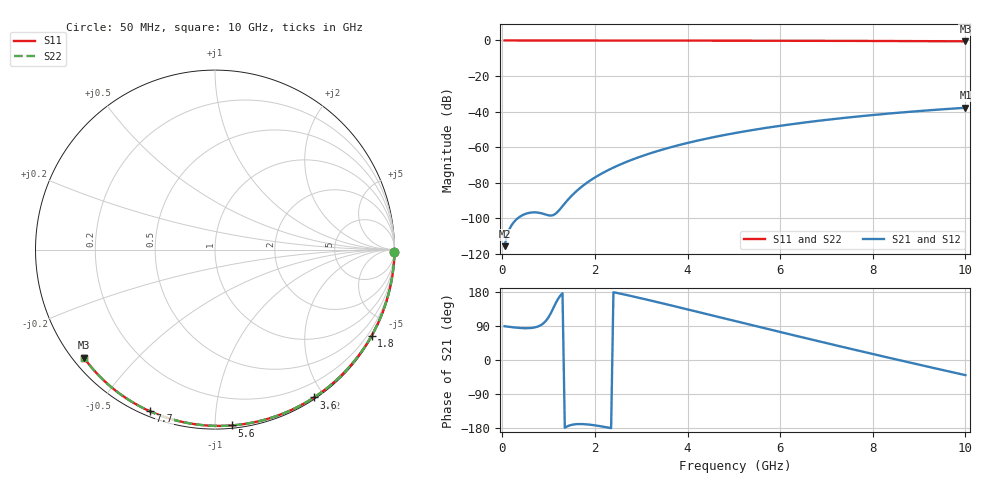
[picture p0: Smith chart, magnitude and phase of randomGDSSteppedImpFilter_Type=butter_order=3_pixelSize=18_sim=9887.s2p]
! freq	dB(S11)	phase(S11)	dB(S12)	phase(S12)
!  dB(S21)	phase(S21)	dB(S22)	phase(S22)
!S-par simulation data
#  GHz  S  DB  R 50
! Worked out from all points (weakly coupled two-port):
!   200 points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, 50 MHz to 10 GHz, reference 50 ohm
!   highest |S21| = -37.84 dB at 10 GHz (marker M1); lowest = -115.7 dB at 50 MHz (marker M2)
!   lowest |S11| = -0.5 dB at 10 GHz (marker M3), VSWR 36.56, Z = 1.54 - j17.9 ohm
!   |S11| at or under -10 dB: nowhere
!   |S22| runs from -0.5 to 0.0 dB; largest |S21 - S12| = 0
!   S11 on the Smith chart (normalised r, x): 50 MHz: open; 1.8 GHz: 0.03, -3.90; 3.6 GHz: 0.02, -1.87; 5.6 GHz: 0.02, -1.10; 7.7 GHz: 0.02, -0.68; 10 GHz: 0.03, -0.36
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0.05  -0.00 -0.8  -115.66 89.1  -115.66 89.1  -0.00 -0.8
0.45  -0.01 -7.3  -98.05 84.0  -98.05 84.0  -0.01 -7.3
0.9  -0.02 -14.5  -97.58 98.0  -97.58 98.0  -0.02 -14.5
1.75  -0.04 -28.0  -81.50 -169.3  -81.50 -169.3  -0.04 -28.0
1.8  -0.04 -28.8  -80.52 -169.6  -80.52 -169.6  -0.04 -28.8
1.85  -0.04 -29.6  -79.59 -170.2  -79.59 -170.2  -0.04 -29.5
2.05  -0.04 -32.7  -76.25 -173.3  -76.25 -173.3  -0.04 -32.7
2.25  -0.05 -35.8  -73.37 -177.6  -73.37 -177.6  -0.05 -35.8
2.55  -0.05 -40.4  -69.69 175.1  -69.69 175.1  -0.05 -40.4
2.95  -0.06 -46.5  -65.61 164.2  -65.61 164.2  -0.06 -46.5
3.4  -0.07 -53.2  -61.80 151.3  -61.80 151.3  -0.07 -53.2
3.6  -0.08 -56.2  -60.31 145.4  -60.31 145.4  -0.08 -56.2
3.9  -0.08 -60.6  -58.26 136.5  -58.26 136.5  -0.08 -60.6
4.3  -0.09 -66.4  -55.82 124.6  -55.82 124.6  -0.09 -66.3
5.05  -0.12 -76.9  -51.94 102.2  -51.94 102.2  -0.12 -76.9
5.6  -0.14 -84.5  -49.54 85.8  -49.54 85.8  -0.14 -84.5
6.15  -0.16 -91.9  -47.43 69.5  -47.43 69.5  -0.16 -91.9
6.7  -0.19 -99.1  -45.57 53.3  -45.57 53.3  -0.19 -99.1
7.7  -0.26 -111.9  -42.68 24.4  -42.68 24.4  -0.26 -111.9
8.35  -0.31 -120.1  -41.09 5.9  -41.09 5.9  -0.31 -120.1
9.2  -0.39 -130.6  -39.29 -17.9  -39.29 -17.9  -0.39 -130.6
10  -0.48 -140.5  -37.84 -39.9  -37.84 -39.9  -0.48 -140.5
